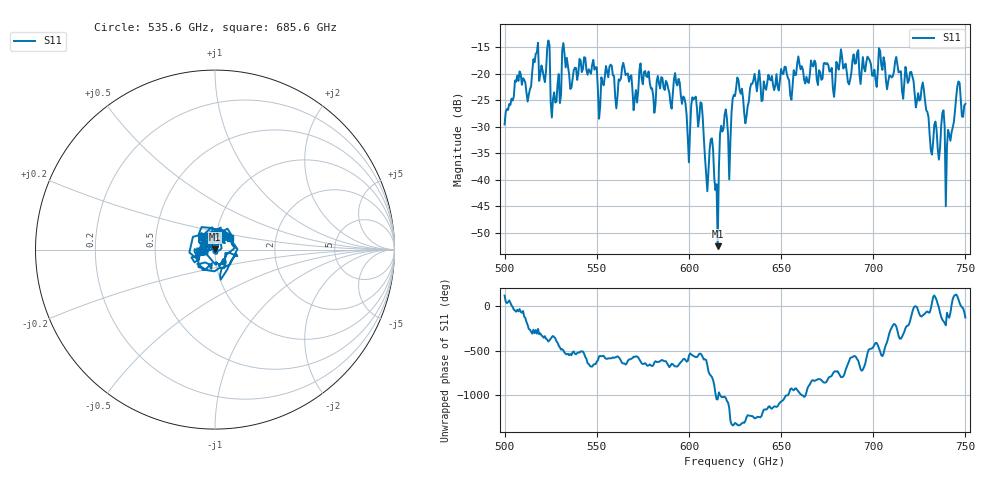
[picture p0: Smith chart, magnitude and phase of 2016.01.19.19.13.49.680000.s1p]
!Created with skrf (http://scikit-rf.org).
# GHz S RI R 50.0
!freq ReS11 ImS11
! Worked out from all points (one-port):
!   401 points, 500 GHz to 750 GHz, reference 50 ohm
!   lowest |S11| = -52.5 dB at 615.6 GHz (marker M1), VSWR 1.00, Z = 50.2 + j0.115 ohm
!   |S11| at or under -10 dB: start of sweep to end of sweep
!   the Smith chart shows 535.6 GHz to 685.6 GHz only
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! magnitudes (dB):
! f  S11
! 500 GHz  -29.5
! 507.5 GHz  -21.3
! 513.1 GHz  -23.9
! 516.9 GHz  -16.3
! 523.1 GHz  -15.1
! 526.2 GHz  -24.8
! 531.2 GHz  -15.6
! 562.5 GHz  -21.3
! 593.8 GHz  -22.2
! 599.4 GHz  -32.0
! 602.5 GHz  -24.8
! 606.9 GHz  -25.6
! 609.4 GHz  -39.0
! 612.5 GHz  -32.2
! 615.6 GHz  -52.5
! 618.1 GHz  -30.9
! 621.9 GHz  -39.9
! 625 GHz  -24.2
! 631.2 GHz  -28.0
! 635 GHz  -21.2
! 656.2 GHz  -22.3
! 687.5 GHz  -21.1
! 718.8 GHz  -21.7
! 727.5 GHz  -23.1
! 731.2 GHz  -34.5
! 740.6 GHz  -30.6
! 745.6 GHz  -22.4
! 750 GHz  -25.7
